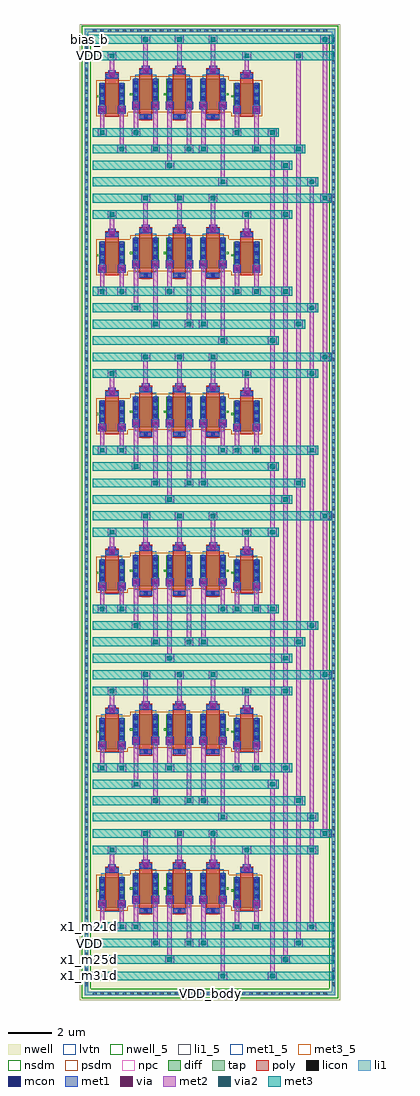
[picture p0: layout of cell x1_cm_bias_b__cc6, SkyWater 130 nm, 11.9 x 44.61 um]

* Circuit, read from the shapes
.subckt x1_cm_bias_b__cc6 VDD VDD_body bias_b x1_m21d x1_m25d x1_m31d
XM1 x1_m21d x1_m21d x1_m21d VDD_body sky130_fd_pr__pfet_01v8_lvt w=1.4 l=0.6 m=2
XM2 x1_m25d x1_m25d x1_m25d VDD_body sky130_fd_pr__pfet_01v8_lvt w=1.4 l=0.6 m=2
XM3 x1_m31d x1_m31d x1_m31d VDD_body sky130_fd_pr__pfet_01v8_lvt w=1.4 l=0.6 m=2
XM4 x1_m21d x1_m21d x1_m21d VDD_body sky130_fd_pr__pfet_01v8 w=1.4 l=0.6 m=2
XM5 x1_m25d x1_m25d x1_m25d VDD_body sky130_fd_pr__pfet_01v8 w=1.4 l=0.6 m=2
XM6 VDD VDD x1_m31d VDD_body sky130_fd_pr__pfet_01v8 w=1.4 l=0.6 m=2
XM7 VDD bias_b x1_m21d VDD_body sky130_fd_pr__pfet_01v8_lvt w=1.4 l=0.6 m=6
XM8 VDD bias_b x1_m31d VDD_body sky130_fd_pr__pfet_01v8_lvt w=1.4 l=0.6 m=6
XM9 VDD bias_b x1_m25d VDD_body sky130_fd_pr__pfet_01v8_lvt w=1.4 l=0.6 m=6
.ends

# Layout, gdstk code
from math import pi, radians
import gdstk
lib = gdstk.Library(unit=1e-6, precision=1e-09)
def R(c, l, rs):  # rectangles x0, y0, x1, y1
    for r in rs: c.add(gdstk.rectangle(r[:2], r[2:], *l))
def A(c, l, x, y, w, h, nx, ny, dx, dy):  # array of equal rectangles
    R(c, l, [(x+i*dx, y+j*dy, x+i*dx+w, y+j*dy+h) for i in range(nx) for j in range(ny)])
nwell_5 = (64, 5)
nwell = (64, 20)
diff = (65, 20)
tap = (65, 44)
poly = (66, 20)
licon = (66, 44)
li1_5 = (67, 5)
li1 = (67, 20)
mcon = (67, 44)
met1_5 = (68, 5)
met1 = (68, 20)
via = (68, 44)
met2 = (69, 20)
via2 = (69, 44)
met3_5 = (70, 5)
met3 = (70, 20)
nsdm = (93, 44)
psdm = (94, 20)
npc = (95, 20)
lvtn = (125, 44)

sky130_fd_pr__pfet_01v8_ = lib.new_cell('sky130_fd_pr__pfet_01v8_7A4LUF')
R(sky130_fd_pr__pfet_01v8_, nwell, [(-0.77,-1.19,0.77,1.02)])
R(sky130_fd_pr__pfet_01v8_, diff, [(-0.59,-0.88,0.59,0.52)])
R(sky130_fd_pr__pfet_01v8_, poly, [(-0.3,-1.01,0.3,1.005)])
A(sky130_fd_pr__pfet_01v8_, licon, -0.53, -0.775, 0.17, 0.17, 1, 4, 0, 0.34)
A(sky130_fd_pr__pfet_01v8_, licon, 0.36, -0.775, 0.17, 0.17, 1, 4, 0, 0.34)
R(sky130_fd_pr__pfet_01v8_, licon, [(-0.085,0.755,0.085,0.925)])
R(sky130_fd_pr__pfet_01v8_, li1, [(-0.53,-0.9,-0.36,0.54), (0.36,-0.9,0.53,0.54), (-0.3,0.755,0.3,0.925)])
A(sky130_fd_pr__pfet_01v8_, mcon, -0.53, -0.805, 0.17, 0.17, 1, 4, 0, 0.36)
A(sky130_fd_pr__pfet_01v8_, mcon, 0.36, -0.805, 0.17, 0.17, 1, 4, 0, 0.36)
R(sky130_fd_pr__pfet_01v8_, mcon, [(-0.085,0.755,0.085,0.925)])
R(sky130_fd_pr__pfet_01v8_, met1, [(-0.56,-0.88,-0.33,0.52), (0.33,-0.88,0.56,0.52), (-0.28,0.725,0.28,0.955)])
R(sky130_fd_pr__pfet_01v8_, psdm, [(-0.715,-1.005,0.715,0.645)])
R(sky130_fd_pr__pfet_01v8_, npc, [(-0.185,0.655,0.185,1.025)])
sky130_fd_pr__pfet_01v8_.add(gdstk.Label('D', (-0.445,-0.18), layer=67, texttype=5))
sky130_fd_pr__pfet_01v8_.add(gdstk.Label('S', (0.445,-0.18), layer=67, texttype=5))
sky130_fd_pr__pfet_01v8_.add(gdstk.Label('G', (0,0.84), layer=67, texttype=5))

pfet_01v8_w1p4_l0p6_m2__ = lib.new_cell('pfet_01v8_W1p4_L0p6_m2__nf1_gtop_sdfull_ng')
R(pfet_01v8_w1p4_l0p6_m2__, nwell_5, [(0.05,1.055,0.15,1.155)])
R(pfet_01v8_w1p4_l0p6_m2__, nwell, [(0.05,1.055,0.15,1.155)])
R(pfet_01v8_w1p4_l0p6_m2__, met1_5, [(0.21,1.01,0.44,1.21), (1.1,1.01,1.33,1.21), (0.49,1.915,1.05,2.145)])
R(pfet_01v8_w1p4_l0p6_m2__, met1, [(0.21,1.01,0.44,1.21), (1.1,1.01,1.33,1.21), (0.49,1.915,1.05,2.145)])
pfet_01v8_w1p4_l0p6_m2__.add(gdstk.Reference(sky130_fd_pr__pfet_01v8_, (0.77,1.19)))
pfet_01v8_w1p4_l0p6_m2__.add(gdstk.Label('D', (0.325,1.11), layer=68, texttype=5))
pfet_01v8_w1p4_l0p6_m2__.add(gdstk.Label('S', (1.215,1.11), layer=68, texttype=5))
pfet_01v8_w1p4_l0p6_m2__.add(gdstk.Label('G', (0.77,2.03), layer=68, texttype=5))
pfet_01v8_w1p4_l0p6_m2__.add(gdstk.Label('B', (0.1,1.105), layer=64, texttype=5))

c_sky130_fd_pr__pfet_01v8_ = lib.new_cell('sky130_fd_pr__pfet_01v8_lvt_PJ46JE')
R(c_sky130_fd_pr__pfet_01v8_, nwell, [(-0.77,-1.2,0.77,1.2)])
R(c_sky130_fd_pr__pfet_01v8_, diff, [(-0.59,-0.7,0.59,0.7)])
R(c_sky130_fd_pr__pfet_01v8_, poly, [(-0.3,-1.185,0.3,1.185)])
A(c_sky130_fd_pr__pfet_01v8_, licon, -0.53, -0.595, 0.17, 0.17, 1, 4, 0, 0.34)
A(c_sky130_fd_pr__pfet_01v8_, licon, 0.36, -0.595, 0.17, 0.17, 1, 4, 0, 0.34)
R(c_sky130_fd_pr__pfet_01v8_, licon, [(-0.085,-1.105,0.085,-0.935), (-0.085,0.935,0.085,1.105)])
R(c_sky130_fd_pr__pfet_01v8_, li1, [(-0.3,-1.105,0.3,-0.935), (-0.53,-0.72,-0.36,0.72), (0.36,-0.72,0.53,0.72), (-0.3,0.935,0.3,1.105)])
A(c_sky130_fd_pr__pfet_01v8_, mcon, -0.53, -0.625, 0.17, 0.17, 1, 4, 0, 0.36)
A(c_sky130_fd_pr__pfet_01v8_, mcon, 0.36, -0.625, 0.17, 0.17, 1, 4, 0, 0.36)
R(c_sky130_fd_pr__pfet_01v8_, mcon, [(-0.085,-1.105,0.085,-0.935), (-0.085,0.935,0.085,1.105)])
R(c_sky130_fd_pr__pfet_01v8_, met1, [(-0.28,-1.135,0.28,-0.905), (-0.56,-0.7,-0.33,0.7), (0.33,-0.7,0.56,0.7), (-0.28,0.905,0.28,1.135)])
R(c_sky130_fd_pr__pfet_01v8_, psdm, [(-0.715,-0.825,0.715,0.825)])
R(c_sky130_fd_pr__pfet_01v8_, npc, [(-0.185,-1.205,0.185,-0.835), (-0.185,0.835,0.185,1.205)])
R(c_sky130_fd_pr__pfet_01v8_, lvtn, [(-0.48,-0.88,0.48,0.88)])
c_sky130_fd_pr__pfet_01v8_.add(gdstk.Label('D', (-0.445,0), layer=67, texttype=5))
c_sky130_fd_pr__pfet_01v8_.add(gdstk.Label('S', (0.445,0), layer=67, texttype=5))
c_sky130_fd_pr__pfet_01v8_.add(gdstk.Label('G', (0,1.02), layer=67, texttype=5))

pfet_01v8_lvt_w1p4_l0p6_ = lib.new_cell('pfet_01v8_lvt_W1p4_L0p6_m6__nf1_gboth_sdfull_ng')
R(pfet_01v8_lvt_w1p4_l0p6_, nwell_5, [(0.05,1.15,0.15,1.25)])
R(pfet_01v8_lvt_w1p4_l0p6_, nwell, [(0.05,1.15,0.15,1.25)])
R(pfet_01v8_lvt_w1p4_l0p6_, met1_5, [(0.21,1.2,0.44,1.4), (1.1,1.2,1.33,1.4), (0.49,2.105,1.05,2.335)])
R(pfet_01v8_lvt_w1p4_l0p6_, met1, [(0.21,1.2,0.44,1.4), (1.1,1.2,1.33,1.4), (0.49,2.105,1.05,2.335)])
pfet_01v8_lvt_w1p4_l0p6_.add(gdstk.Reference(c_sky130_fd_pr__pfet_01v8_, (0.77,1.2)))
pfet_01v8_lvt_w1p4_l0p6_.add(gdstk.Label('D', (0.325,1.3), layer=68, texttype=5))
pfet_01v8_lvt_w1p4_l0p6_.add(gdstk.Label('S', (1.215,1.3), layer=68, texttype=5))
pfet_01v8_lvt_w1p4_l0p6_.add(gdstk.Label('G', (0.77,2.22), layer=68, texttype=5))
pfet_01v8_lvt_w1p4_l0p6_.add(gdstk.Label('B', (0.1,1.2), layer=64, texttype=5))

c_sky130_fd_pr__pfet_01v8__ = lib.new_cell('sky130_fd_pr__pfet_01v8_lvt_L7GY3J')
R(c_sky130_fd_pr__pfet_01v8__, nwell, [(-0.77,-1.19,0.77,1.02)])
R(c_sky130_fd_pr__pfet_01v8__, diff, [(-0.59,-0.88,0.59,0.52)])
R(c_sky130_fd_pr__pfet_01v8__, poly, [(-0.3,-1.01,0.3,1.005)])
A(c_sky130_fd_pr__pfet_01v8__, licon, -0.53, -0.775, 0.17, 0.17, 1, 4, 0, 0.34)
A(c_sky130_fd_pr__pfet_01v8__, licon, 0.36, -0.775, 0.17, 0.17, 1, 4, 0, 0.34)
R(c_sky130_fd_pr__pfet_01v8__, licon, [(-0.085,0.755,0.085,0.925)])
R(c_sky130_fd_pr__pfet_01v8__, li1, [(-0.53,-0.9,-0.36,0.54), (0.36,-0.9,0.53,0.54), (-0.3,0.755,0.3,0.925)])
A(c_sky130_fd_pr__pfet_01v8__, mcon, -0.53, -0.805, 0.17, 0.17, 1, 4, 0, 0.36)
A(c_sky130_fd_pr__pfet_01v8__, mcon, 0.36, -0.805, 0.17, 0.17, 1, 4, 0, 0.36)
R(c_sky130_fd_pr__pfet_01v8__, mcon, [(-0.085,0.755,0.085,0.925)])
R(c_sky130_fd_pr__pfet_01v8__, met1, [(-0.56,-0.88,-0.33,0.52), (0.33,-0.88,0.56,0.52), (-0.28,0.725,0.28,0.955)])
R(c_sky130_fd_pr__pfet_01v8__, psdm, [(-0.715,-1.005,0.715,0.645)])
R(c_sky130_fd_pr__pfet_01v8__, npc, [(-0.185,0.655,0.185,1.025)])
R(c_sky130_fd_pr__pfet_01v8__, lvtn, [(-0.48,-1.06,0.48,0.7)])
c_sky130_fd_pr__pfet_01v8__.add(gdstk.Label('D', (-0.445,-0.18), layer=67, texttype=5))
c_sky130_fd_pr__pfet_01v8__.add(gdstk.Label('S', (0.445,-0.18), layer=67, texttype=5))
c_sky130_fd_pr__pfet_01v8__.add(gdstk.Label('G', (0,0.84), layer=67, texttype=5))

c_pfet_01v8_lvt_w1p4_l0p6_ = lib.new_cell('pfet_01v8_lvt_W1p4_L0p6_m2__nf1_gtop_sdfull_ng')
R(c_pfet_01v8_lvt_w1p4_l0p6_, nwell_5, [(0.05,1.055,0.15,1.155)])
R(c_pfet_01v8_lvt_w1p4_l0p6_, nwell, [(0.05,1.055,0.15,1.155)])
R(c_pfet_01v8_lvt_w1p4_l0p6_, met1_5, [(0.21,1.01,0.44,1.21), (1.1,1.01,1.33,1.21), (0.49,1.915,1.05,2.145)])
R(c_pfet_01v8_lvt_w1p4_l0p6_, met1, [(0.21,1.01,0.44,1.21), (1.1,1.01,1.33,1.21), (0.49,1.915,1.05,2.145)])
c_pfet_01v8_lvt_w1p4_l0p6_.add(gdstk.Reference(c_sky130_fd_pr__pfet_01v8__, (0.77,1.19)))
c_pfet_01v8_lvt_w1p4_l0p6_.add(gdstk.Label('D', (0.325,1.11), layer=68, texttype=5))
c_pfet_01v8_lvt_w1p4_l0p6_.add(gdstk.Label('S', (1.215,1.11), layer=68, texttype=5))
c_pfet_01v8_lvt_w1p4_l0p6_.add(gdstk.Label('G', (0.77,2.03), layer=68, texttype=5))
c_pfet_01v8_lvt_w1p4_l0p6_.add(gdstk.Label('B', (0.1,1.105), layer=64, texttype=5))

x1_cm_bias_b__cc6 = lib.new_cell('x1_cm_bias_b__cc6')
R(x1_cm_bias_b__cc6, nwell, [(-0.7,-3.9,11.2,40.71)])
R(x1_cm_bias_b__cc6, tap, [(-0.485,-3.685,10.985,-3.515), (-0.485,-3.515,-0.315,40.325), (10.815,-3.515,10.985,40.325), (-0.485,40.325,10.985,40.495)])
A(x1_cm_bias_b__cc6, licon, -0.105, -3.685, 0.17, 0.17, 32, 2, 0.34, 44.01)
A(x1_cm_bias_b__cc6, licon, -0.485, -3.27, 0.17, 0.17, 1, 128, 0, 0.34)
A(x1_cm_bias_b__cc6, licon, 10.815, -3.27, 0.17, 0.17, 1, 128, 0, 0.34)
R(x1_cm_bias_b__cc6, li1_5, [(5.2,-3.65,5.3,-3.55)])
R(x1_cm_bias_b__cc6, li1, [(-0.485,-3.685,10.985,-3.515), (-0.485,-3.515,-0.315,40.325), (10.815,-3.515,10.985,40.325), (-0.485,40.325,10.985,40.495)])
A(x1_cm_bias_b__cc6, met1, 0.145, 0.31, 0.36, 0.36, 1, 6, 0, 7.26)
A(x1_cm_bias_b__cc6, met1, 1.035, 0.31, 0.36, 0.36, 1, 6, 0, 7.26)
A(x1_cm_bias_b__cc6, met1, 6.305, 0.31, 0.36, 0.36, 1, 6, 0, 7.26)
A(x1_cm_bias_b__cc6, met1, 7.195, 0.31, 0.36, 0.36, 1, 6, 0, 7.26)
A(x1_cm_bias_b__cc6, met1, 1.685, 0.505, 0.36, 0.36, 1, 6, 0, 7.26)
A(x1_cm_bias_b__cc6, met1, 2.575, 0.505, 0.36, 0.36, 1, 6, 0, 7.26)
A(x1_cm_bias_b__cc6, met1, 3.225, 0.505, 0.36, 0.36, 1, 6, 0, 7.26)
A(x1_cm_bias_b__cc6, met1, 4.115, 0.505, 0.36, 0.36, 1, 6, 0, 7.26)
A(x1_cm_bias_b__cc6, met1, 4.765, 0.505, 0.36, 0.36, 1, 6, 0, 7.26)
A(x1_cm_bias_b__cc6, met1, 5.655, 0.505, 0.36, 0.36, 1, 6, 0, 7.26)
A(x1_cm_bias_b__cc6, met1, 0.59, 1.945, 0.36, 0.36, 1, 6, 0, 7.26)
A(x1_cm_bias_b__cc6, met1, 6.75, 1.945, 0.36, 0.36, 1, 6, 0, 7.26)
A(x1_cm_bias_b__cc6, met1, 2.13, 2.14, 0.36, 0.36, 3, 6, 1.54, 7.26)
A(x1_cm_bias_b__cc6, via, 0.25, 0.415, 0.15, 0.15, 1, 6, 0, 7.26)
A(x1_cm_bias_b__cc6, via, 1.14, 0.415, 0.15, 0.15, 1, 6, 0, 7.26)
A(x1_cm_bias_b__cc6, via, 6.41, 0.415, 0.15, 0.15, 1, 6, 0, 7.26)
A(x1_cm_bias_b__cc6, via, 7.3, 0.415, 0.15, 0.15, 1, 6, 0, 7.26)
A(x1_cm_bias_b__cc6, via, 1.79, 0.61, 0.15, 0.15, 1, 6, 0, 7.26)
A(x1_cm_bias_b__cc6, via, 2.68, 0.61, 0.15, 0.15, 1, 6, 0, 7.26)
A(x1_cm_bias_b__cc6, via, 3.33, 0.61, 0.15, 0.15, 1, 6, 0, 7.26)
A(x1_cm_bias_b__cc6, via, 4.22, 0.61, 0.15, 0.15, 1, 6, 0, 7.26)
A(x1_cm_bias_b__cc6, via, 4.87, 0.61, 0.15, 0.15, 1, 6, 0, 7.26)
A(x1_cm_bias_b__cc6, via, 5.76, 0.61, 0.15, 0.15, 1, 6, 0, 7.26)
A(x1_cm_bias_b__cc6, via, 0.695, 2.05, 0.15, 0.15, 1, 6, 0, 7.26)
A(x1_cm_bias_b__cc6, via, 6.855, 2.05, 0.15, 0.15, 1, 6, 0, 7.26)
A(x1_cm_bias_b__cc6, via, 2.235, 2.245, 0.15, 0.15, 3, 6, 1.54, 7.26)
A(x1_cm_bias_b__cc6, met2, 0.125, -0.75, 0.4, 0.4, 1, 6, 0, 7.26)
A(x1_cm_bias_b__cc6, met2, 1.015, -0.75, 0.4, 0.4, 1, 5, 0, 7.26)
A(x1_cm_bias_b__cc6, met2, 6.285, -0.75, 0.4, 0.4, 1, 6, 0, 7.26)
A(x1_cm_bias_b__cc6, met2, 7.175, -0.75, 0.4, 0.4, 1, 5, 0, 7.26)
A(x1_cm_bias_b__cc6, met2, 0.225, -0.35, 0.2, 0.68, 1, 6, 0, 7.26)
A(x1_cm_bias_b__cc6, met2, 1.115, -0.35, 0.2, 0.68, 1, 5, 0, 7.26)
A(x1_cm_bias_b__cc6, met2, 6.385, -0.35, 0.2, 0.68, 1, 6, 0, 7.26)
A(x1_cm_bias_b__cc6, met2, 7.275, -0.35, 0.2, 0.68, 1, 5, 0, 7.26)
A(x1_cm_bias_b__cc6, met2, 0.195, 0.33, 0.26, 0.32, 1, 6, 0, 7.26)
A(x1_cm_bias_b__cc6, met2, 1.085, 0.33, 0.26, 0.32, 1, 6, 0, 7.26)
A(x1_cm_bias_b__cc6, met2, 6.355, 0.33, 0.26, 0.32, 1, 6, 0, 7.26)
A(x1_cm_bias_b__cc6, met2, 7.245, 0.33, 0.26, 0.32, 1, 6, 0, 7.26)
A(x1_cm_bias_b__cc6, met2, 1.735, 0.525, 0.26, 0.32, 1, 6, 0, 7.26)
A(x1_cm_bias_b__cc6, met2, 2.625, 0.525, 0.26, 0.32, 1, 6, 0, 7.26)
A(x1_cm_bias_b__cc6, met2, 3.275, 0.525, 0.26, 0.32, 1, 6, 0, 7.26)
A(x1_cm_bias_b__cc6, met2, 4.165, 0.525, 0.26, 0.32, 1, 6, 0, 7.26)
A(x1_cm_bias_b__cc6, met2, 4.815, 0.525, 0.26, 0.32, 1, 6, 0, 7.26)
A(x1_cm_bias_b__cc6, met2, 5.705, 0.525, 0.26, 0.32, 1, 6, 0, 7.26)
A(x1_cm_bias_b__cc6, met2, 0.64, 1.965, 0.26, 0.32, 1, 6, 0, 7.26)
A(x1_cm_bias_b__cc6, met2, 6.8, 1.965, 0.26, 0.32, 1, 6, 0, 7.26)
A(x1_cm_bias_b__cc6, met2, 2.18, 2.16, 0.26, 0.32, 3, 6, 1.54, 7.26)
A(x1_cm_bias_b__cc6, met2, 0.67, 2.285, 0.2, 0.475, 1, 6, 0, 7.26)
A(x1_cm_bias_b__cc6, met2, 6.83, 2.285, 0.2, 0.475, 1, 6, 0, 7.26)
A(x1_cm_bias_b__cc6, met2, 2.21, 2.48, 0.2, 1.03, 3, 6, 1.54, 7.26)
A(x1_cm_bias_b__cc6, met2, 0.57, 2.76, 0.4, 0.4, 1, 6, 0, 7.26)
A(x1_cm_bias_b__cc6, met2, 6.73, 2.76, 0.4, 0.4, 1, 6, 0, 7.26)
A(x1_cm_bias_b__cc6, met2, 2.11, 3.51, 0.4, 0.4, 3, 6, 1.54, 7.26)
A(x1_cm_bias_b__cc6, met2, 10.3, 3.51, 0.4, 0.4, 1, 6, 0, 7.26)
A(x1_cm_bias_b__cc6, met2, 10.4, 3.91, 0.2, 6.86, 1, 5, 0, 7.26)
A(x1_cm_bias_b__cc6, met2, 2.555, 5.01, 0.4, 0.4, 1, 4, 0, 7.26)
A(x1_cm_bias_b__cc6, met2, 4.095, 5.01, 0.4, 0.4, 1, 4, 0, 7.26)
A(x1_cm_bias_b__cc6, met2, 4.745, 5.01, 0.4, 0.4, 1, 4, 0, 7.26)
A(x1_cm_bias_b__cc6, met2, 9.1, 5.01, 0.4, 0.4, 1, 4, 0, 7.26)
A(x1_cm_bias_b__cc6, met2, 2.655, 5.41, 0.2, 2.375, 1, 4, 0, 7.26)
A(x1_cm_bias_b__cc6, met2, 4.195, 5.41, 0.2, 2.375, 1, 4, 0, 7.26)
A(x1_cm_bias_b__cc6, met2, 4.845, 5.41, 0.2, 2.375, 1, 4, 0, 7.26)
A(x1_cm_bias_b__cc6, met2, 9.2, 5.41, 0.2, 6.86, 1, 3, 0, 7.26)
A(x1_cm_bias_b__cc6, met2, 1.665, 5.76, 0.4, 0.4, 1, 4, 0, 7.26)
A(x1_cm_bias_b__cc6, met2, 1.765, 6.16, 0.2, 1.625, 1, 4, 0, 7.26)
A(x1_cm_bias_b__cc6, met2, 1.015, 34.8, 0.4, 0.4, 3, 1, 1.54, 0)
R(x1_cm_bias_b__cc6, met2, [(5.635,-3,6.035,-2.6), (7.9,-3,8.3,-2.6), (5.735,-2.6,5.935,0.525), (8,-2.6,8.2,5.76), (3.205,-2.25,3.605,-1.85), (8.5,-2.25,8.9,-1.85), (3.305,-1.85,3.505,0.525), (8.6,-1.85,8.8,6.51), (2.555,-1.5,2.955,-1.1), (4.095,-1.5,4.495,-1.1), (4.745,-1.5,5.145,-1.1), (9.1,-1.5,9.5,-1.1), (2.655,-1.1,2.855,0.525), (4.195,-1.1,4.395,0.525), (4.845,-1.1,5.045,0.525), (9.2,-1.1,9.4,5.01), (1.665,-0.75,2.065,-0.35), (9.7,-0.75,10.1,-0.35), (1.765,-0.35,1.965,0.525), (9.8,-0.35,10,2.76), (9.7,2.76,10.1,3.16), (9.8,3.16,10,4.26), (5.635,4.26,6.035,4.66), (9.7,4.26,10.1,4.66), (5.735,4.66,5.935,7.785), (9.8,4.66,10,13.02), (7.9,5.76,8.3,6.16), (8,6.16,8.2,13.77), (3.205,6.51,3.605,6.91), (8.5,6.51,8.9,6.91), (3.305,6.91,3.505,7.785), (8.6,6.91,8.8,10.02), (8.5,10.02,8.9,10.42), (8.6,10.42,8.8,11.52), (3.205,11.52,3.605,11.92), (8.5,11.52,8.9,11.92), (3.305,11.92,3.505,15.045), (8.6,11.92,8.8,18.78), (9.7,13.02,10.1,13.42), (9.8,13.42,10,21.03), (5.635,13.77,6.035,14.17), (7.9,13.77,8.3,14.17), (5.735,14.17,5.935,15.045), (8,14.17,8.2,17.28), (7.9,17.28,8.3,17.68), (8,17.68,8.2,20.28), (3.205,18.78,3.605,19.18), (8.5,18.78,8.9,19.18), (3.305,19.18,3.505,22.305), (8.6,19.18,8.8,28.29), (7.9,20.28,8.3,20.68), (8,20.68,8.2,26.04), (5.635,21.03,6.035,21.43), (9.7,21.03,10.1,21.43), (5.735,21.43,5.935,22.305), (9.8,21.43,10,24.54), (9.7,24.54,10.1,24.94), (9.8,24.94,10,27.54), (5.635,26.04,6.035,26.44), (7.9,26.04,8.3,26.44), (5.735,26.44,5.935,29.565), (8,26.44,8.2,35.55), (9.2,27.19,9.4,34.8), (9.7,27.54,10.1,27.94), (9.8,27.94,10,33.3), (3.205,28.29,3.605,28.69), (8.5,28.29,8.9,28.69), (3.305,28.69,3.505,29.565), (8.6,28.69,8.8,31.8), (8.5,31.8,8.9,32.2), (8.6,32.2,8.8,34.05), (5.635,33.3,6.035,33.7), (9.7,33.3,10.1,33.7), (5.735,33.7,5.935,36.825), (3.205,34.05,3.605,34.45), (8.5,34.05,8.9,34.45), (3.305,34.45,3.505,36.825), (4.745,34.8,5.145,35.2), (7.175,34.8,7.575,35.2), (9.1,34.8,9.5,35.2), (1.115,35.2,1.315,36.63), (2.655,35.2,2.855,36.825), (4.195,35.2,4.395,36.825), (4.845,35.2,5.045,36.825), (7.275,35.2,7.475,36.63), (9.2,35.2,9.4,39.06), (1.665,35.55,2.065,35.95), (7.9,35.55,8.3,35.95), (1.765,35.95,1.965,36.825), (9.1,39.06,9.5,39.46)])
A(x1_cm_bias_b__cc6, via2, 0.225, -0.65, 0.2, 0.2, 1, 6, 0, 7.26)
A(x1_cm_bias_b__cc6, via2, 1.115, -0.65, 0.2, 0.2, 1, 5, 0, 7.26)
A(x1_cm_bias_b__cc6, via2, 6.385, -0.65, 0.2, 0.2, 1, 6, 0, 7.26)
A(x1_cm_bias_b__cc6, via2, 7.275, -0.65, 0.2, 0.2, 1, 5, 0, 7.26)
A(x1_cm_bias_b__cc6, via2, 0.67, 2.86, 0.2, 0.2, 1, 6, 0, 7.26)
A(x1_cm_bias_b__cc6, via2, 6.83, 2.86, 0.2, 0.2, 1, 6, 0, 7.26)
A(x1_cm_bias_b__cc6, via2, 2.21, 3.61, 0.2, 0.2, 3, 6, 1.54, 7.26)
A(x1_cm_bias_b__cc6, via2, 10.4, 3.61, 0.2, 0.2, 1, 6, 0, 7.26)
A(x1_cm_bias_b__cc6, via2, 2.655, 5.11, 0.2, 0.2, 1, 4, 0, 7.26)
A(x1_cm_bias_b__cc6, via2, 4.195, 5.11, 0.2, 0.2, 1, 4, 0, 7.26)
A(x1_cm_bias_b__cc6, via2, 4.845, 5.11, 0.2, 0.2, 1, 4, 0, 7.26)
A(x1_cm_bias_b__cc6, via2, 9.2, 5.11, 0.2, 0.2, 1, 4, 0, 7.26)
A(x1_cm_bias_b__cc6, via2, 1.765, 5.86, 0.2, 0.2, 1, 4, 0, 7.26)
A(x1_cm_bias_b__cc6, via2, 1.115, 34.9, 0.2, 0.2, 3, 1, 1.54, 0)
R(x1_cm_bias_b__cc6, via2, [(5.735,-2.9,5.935,-2.7), (8,-2.9,8.2,-2.7), (3.305,-2.15,3.505,-1.95), (8.6,-2.15,8.8,-1.95), (2.655,-1.4,2.855,-1.2), (4.195,-1.4,4.395,-1.2), (4.845,-1.4,5.045,-1.2), (9.2,-1.4,9.4,-1.2), (1.765,-0.65,1.965,-0.45), (9.8,-0.65,10,-0.45), (9.8,2.86,10,3.06), (5.735,4.36,5.935,4.56), (9.8,4.36,10,4.56), (8,5.86,8.2,6.06), (3.305,6.61,3.505,6.81), (8.6,6.61,8.8,6.81), (8.6,10.12,8.8,10.32), (3.305,11.62,3.505,11.82), (8.6,11.62,8.8,11.82), (9.8,13.12,10,13.32), (5.735,13.87,5.935,14.07), (8,13.87,8.2,14.07), (8,17.38,8.2,17.58), (3.305,18.88,3.505,19.08), (8.6,18.88,8.8,19.08), (8,20.38,8.2,20.58), (5.735,21.13,5.935,21.33), (9.8,21.13,10,21.33), (9.8,24.64,10,24.84), (5.735,26.14,5.935,26.34), (8,26.14,8.2,26.34), (9.8,27.64,10,27.84), (3.305,28.39,3.505,28.59), (8.6,28.39,8.8,28.59), (8.6,31.9,8.8,32.1), (5.735,33.4,5.935,33.6), (9.8,33.4,10,33.6), (3.305,34.15,3.505,34.35), (8.6,34.15,8.8,34.35), (4.845,34.9,5.045,35.1), (7.275,34.9,7.475,35.1), (9.2,34.9,9.4,35.1), (1.765,35.65,1.965,35.85), (8,35.65,8.2,35.85), (9.2,39.16,9.4,39.36)])
A(x1_cm_bias_b__cc6, met3_5, -0.3, -2.85, 0.1, 0.1, 1, 4, 0, 0.75)
R(x1_cm_bias_b__cc6, met3_5, [(-0.3,39.21,-0.2,39.31), (-0.3,39.96,-0.2,40.06)])
A(x1_cm_bias_b__cc6, met3, -0.4, -3, 11.3, 0.4, 1, 4, 0, 0.75)
A(x1_cm_bias_b__cc6, met3, -0.1, 3.51, 10.9, 0.4, 1, 5, 0, 7.26)
A(x1_cm_bias_b__cc6, met3, -0.1, 5.01, 9.7, 0.4, 1, 4, 0, 7.26)
R(x1_cm_bias_b__cc6, met3, [(-0.1,2.76,10.2,3.16), (-0.1,4.26,10.2,4.66), (-0.1,5.76,8.4,6.16), (-0.1,6.51,9,6.91), (-0.1,10.02,9,10.42), (-0.1,11.52,9,11.92), (-0.1,13.02,10.2,13.42), (-0.1,13.77,8.4,14.17), (-0.1,17.28,8.4,17.68), (-0.1,18.78,9,19.18), (-0.1,20.28,8.4,20.68), (-0.1,21.03,10.2,21.43), (-0.1,24.54,10.2,24.94), (-0.1,26.04,8.4,26.44), (-0.1,27.54,10.2,27.94), (-0.1,28.29,9,28.69), (-0.1,31.8,9,32.2), (-0.1,33.3,10.2,33.7), (-0.1,34.05,9,34.45), (-0.1,34.8,9.6,35.2), (-0.1,35.55,8.4,35.95), (-0.4,39.06,10.9,39.46), (-0.4,39.81,10.9,40.21)])
R(x1_cm_bias_b__cc6, nsdm, [(-0.61,-3.81,11.11,-3.39), (-0.61,-3.39,-0.19,40.2), (10.69,-3.39,11.11,40.2), (-0.61,40.2,11.11,40.62)])
A(x1_cm_bias_b__cc6, psdm, 1.485, 0.375, 0.11, 1.46, 1, 6, 0, 7.26)
A(x1_cm_bias_b__cc6, psdm, 3.025, 0.375, 0.11, 1.65, 1, 6, 0, 7.26)
A(x1_cm_bias_b__cc6, psdm, 4.565, 0.375, 0.11, 1.65, 1, 6, 0, 7.26)
A(x1_cm_bias_b__cc6, psdm, 6.105, 0.375, 0.11, 1.46, 1, 6, 0, 7.26)
x1_cm_bias_b__cc6.add(gdstk.Reference(pfet_01v8_w1p4_l0p6_m2__, (6.16,36.3)))
x1_cm_bias_b__cc6.add(gdstk.Reference(pfet_01v8_lvt_w1p4_l0p6_, (6.16,36.3), rotation=pi, x_reflection=True))
x1_cm_bias_b__cc6.add(gdstk.Reference(pfet_01v8_lvt_w1p4_l0p6_, (3.08,36.3)))
x1_cm_bias_b__cc6.add(gdstk.Reference(pfet_01v8_lvt_w1p4_l0p6_, (1.54,36.3)))
x1_cm_bias_b__cc6.add(gdstk.Reference(pfet_01v8_w1p4_l0p6_m2__, (0,36.3)))
x1_cm_bias_b__cc6.add(gdstk.Reference(pfet_01v8_w1p4_l0p6_m2__, (6.16,29.04)))
x1_cm_bias_b__cc6.add(gdstk.Reference(pfet_01v8_lvt_w1p4_l0p6_, (6.16,29.04), rotation=pi, x_reflection=True))
x1_cm_bias_b__cc6.add(gdstk.Reference(pfet_01v8_lvt_w1p4_l0p6_, (3.08,29.04)))
x1_cm_bias_b__cc6.add(gdstk.Reference(pfet_01v8_lvt_w1p4_l0p6_, (1.54,29.04)))
x1_cm_bias_b__cc6.add(gdstk.Reference(pfet_01v8_w1p4_l0p6_m2__, (0,29.04)))
x1_cm_bias_b__cc6.add(gdstk.Reference(pfet_01v8_w1p4_l0p6_m2__, (6.16,21.78)))
x1_cm_bias_b__cc6.add(gdstk.Reference(pfet_01v8_lvt_w1p4_l0p6_, (6.16,21.78), rotation=pi, x_reflection=True))
x1_cm_bias_b__cc6.add(gdstk.Reference(pfet_01v8_lvt_w1p4_l0p6_, (3.08,21.78)))
x1_cm_bias_b__cc6.add(gdstk.Reference(pfet_01v8_lvt_w1p4_l0p6_, (1.54,21.78)))
x1_cm_bias_b__cc6.add(gdstk.Reference(pfet_01v8_w1p4_l0p6_m2__, (0,21.78)))
x1_cm_bias_b__cc6.add(gdstk.Reference(c_pfet_01v8_lvt_w1p4_l0p6_, (6.16,14.52)))
x1_cm_bias_b__cc6.add(gdstk.Reference(pfet_01v8_lvt_w1p4_l0p6_, (6.16,14.52), rotation=pi, x_reflection=True))
x1_cm_bias_b__cc6.add(gdstk.Reference(pfet_01v8_lvt_w1p4_l0p6_, (3.08,14.52)))
x1_cm_bias_b__cc6.add(gdstk.Reference(pfet_01v8_lvt_w1p4_l0p6_, (1.54,14.52)))
x1_cm_bias_b__cc6.add(gdstk.Reference(c_pfet_01v8_lvt_w1p4_l0p6_, (0,14.52)))
x1_cm_bias_b__cc6.add(gdstk.Reference(c_pfet_01v8_lvt_w1p4_l0p6_, (6.16,7.26)))
x1_cm_bias_b__cc6.add(gdstk.Reference(pfet_01v8_lvt_w1p4_l0p6_, (6.16,7.26), rotation=pi, x_reflection=True))
x1_cm_bias_b__cc6.add(gdstk.Reference(pfet_01v8_lvt_w1p4_l0p6_, (3.08,7.26)))
x1_cm_bias_b__cc6.add(gdstk.Reference(pfet_01v8_lvt_w1p4_l0p6_, (1.54,7.26)))
x1_cm_bias_b__cc6.add(gdstk.Reference(c_pfet_01v8_lvt_w1p4_l0p6_, (0,7.26)))
x1_cm_bias_b__cc6.add(gdstk.Reference(c_pfet_01v8_lvt_w1p4_l0p6_, (6.16,0)))
x1_cm_bias_b__cc6.add(gdstk.Reference(pfet_01v8_lvt_w1p4_l0p6_, (6.16,0), rotation=pi, x_reflection=True))
x1_cm_bias_b__cc6.add(gdstk.Reference(pfet_01v8_lvt_w1p4_l0p6_, (3.08,0)))
x1_cm_bias_b__cc6.add(gdstk.Reference(pfet_01v8_lvt_w1p4_l0p6_, (1.54,0)))
x1_cm_bias_b__cc6.add(gdstk.Reference(c_pfet_01v8_lvt_w1p4_l0p6_, (0,0)))
x1_cm_bias_b__cc6.add(gdstk.Label('VDD', (-0.25,39.26), layer=70, texttype=5))
x1_cm_bias_b__cc6.add(gdstk.Label('bias_b', (-0.25,40.01), layer=70, texttype=5))
x1_cm_bias_b__cc6.add(gdstk.Label('x1_m21d', (-0.25,-0.55), layer=70, texttype=5))
x1_cm_bias_b__cc6.add(gdstk.Label('VDD', (-0.25,-1.3), layer=70, texttype=5))
x1_cm_bias_b__cc6.add(gdstk.Label('x1_m25d', (-0.25,-2.05), layer=70, texttype=5))
x1_cm_bias_b__cc6.add(gdstk.Label('x1_m31d', (-0.25,-2.8), layer=70, texttype=5))
x1_cm_bias_b__cc6.add(gdstk.Label('VDD_body', (5.25,-3.6), layer=67, texttype=5))

lib.write_gds('x1_cm_bias_b__cc6.gds')
